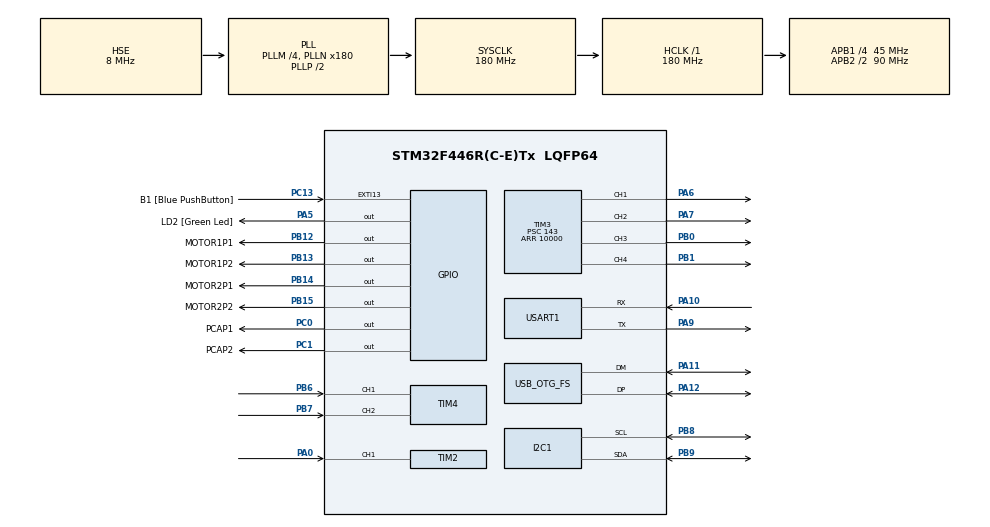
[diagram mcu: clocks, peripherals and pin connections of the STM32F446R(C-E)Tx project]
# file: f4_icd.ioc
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FREERTOS.Tasks01=defaultTask,0,128,StartDefaultTask,Default,NULL,Dynamic,NULL,NULL;myTask02,0,128,StartTask02,Default,NULL,Dynamic,NULL,NULL;myTask03,0,128,StartTask03,Default,NULL,Dynamic,NULL,NULL;Task4UserInput,0,128,StartTask4UserInput,Default,NULL,Dynamic,NULL,NULL
I2C1.I2C_Mode=I2C_Standard
Mcu.Family=STM32F4
Mcu.Name=STM32F446R(C-E)Tx
Mcu.Package=LQFP64
NVIC.I2C1_EV_IRQn=true\:5\:0\:false\:false\:true\:true
NVIC.OTG_FS_IRQn=true\:0\:0\:false\:false\:true\:false
NVIC.PriorityGroup=NVIC_PRIORITYGROUP_4
NVIC.TIM1_UP_TIM10_IRQn=true\:0\:0\:false\:false\:true\:false
NVIC.TIM2_IRQn=true\:5\:0\:false\:false\:true\:true
NVIC.TimeBase=TIM1_UP_TIM10_IRQn
NVIC.TimeBaseIP=TIM10
NVIC.USART1_IRQn=true\:5\:0\:false\:false\:true\:true
PA0-WKUP.Signal=S_TIM2_CH1_ETR
PA10.GPIO_Speed=GPIO_SPEED_FREQ_MEDIUM
PA10.Mode=Asynchronous
PA10.Signal=USART1_RX
PA11.Mode=Device_Only
PA11.Signal=USB_OTG_FS_DM
PA12.Mode=Device_Only
PA12.Signal=USB_OTG_FS_DP
PA13.GPIO_Label=TMS
PA13.Mode=Serial_Wire
PA13.Signal=SYS_JTMS-SWDIO
PA14.GPIO_Label=TCK
PA14.Mode=Serial_Wire
PA14.Signal=SYS_JTCK-SWCLK
PA2.GPIO_Label=USART_TX
PA2.Signal=USART2_TX
PA3.GPIO_Label=USART_RX
PA3.Signal=USART2_RX
PA5.GPIO_Label=LD2 [Green Led]
PA5.Signal=GPIO_Output
PA6.Signal=S_TIM3_CH1
PA7.Signal=S_TIM3_CH2
PA9.Mode=Asynchronous
PA9.Signal=USART1_TX
PB0.Signal=S_TIM3_CH3
PB1.Signal=S_TIM3_CH4
PB12.GPIO_Label=MOTOR1P1
PB12.Signal=GPIO_Output
PB13.GPIO_Label=MOTOR1P2
PB13.Signal=GPIO_Output
PB14.GPIO_Label=MOTOR2P1
PB14.Signal=GPIO_Output
PB15.GPIO_Label=MOTOR2P2
PB15.Signal=GPIO_Output
PB3.GPIO_Label=SWO
PB3.Signal=SYS_JTDO-SWO
PB6.Signal=S_TIM4_CH1
PB7.Signal=S_TIM4_CH2
PB8.Mode=I2C
PB8.Signal=I2C1_SCL
PB9.Mode=I2C
PB9.Signal=I2C1_SDA
PC0.GPIO_Label=PCAP1
PC0.GPIO_Speed=GPIO_SPEED_FREQ_HIGH
PC0.Signal=GPIO_Output
PC1.GPIO_Label=PCAP2
PC1.GPIO_Speed=GPIO_SPEED_FREQ_HIGH
PC1.Signal=GPIO_Output
PC13.GPIO_Label=B1 [Blue PushButton]
PC13.GPIO_ModeDefaultEXTI=GPIO_MODE_IT_FALLING
PC13.Signal=GPXTI13
PC14-OSC32_IN.Signal=RCC_OSC32_IN
PC15-OSC32_OUT.Signal=RCC_OSC32_OUT
PH0-OSC_IN.Mode=HSE-External-Oscillator
PH0-OSC_IN.Signal=RCC_OSC_IN
PH1-OSC_OUT.Mode=HSE-External-Oscillator
PH1-OSC_OUT.Signal=RCC_OSC_OUT
ProjectManager.HeapSize=0x200
ProjectManager.StackSize=0x400
ProjectManager.TargetToolchain=SW4STM32
RCC.AHBFreq_Value=180000000
RCC.APB1CLKDivider=RCC_HCLK_DIV4
RCC.APB1Freq_Value=45000000
RCC.APB1TimFreq_Value=90000000
RCC.APB2CLKDivider=RCC_HCLK_DIV2
RCC.APB2Freq_Value=90000000
RCC.APB2TimFreq_Value=180000000
RCC.CortexFreq_Value=180000000
RCC.FLatency-AdvancedSettings=FLASH_LATENCY_5
RCC.HCLKFreq_Value=180000000
RCC.HSE_VALUE=8000000
RCC.HSI_VALUE=16000000
RCC.LSE_VALUE=32768
RCC.PLLM=4
RCC.PLLN=180
RCC.PLLQ=3
RCC.PLLSAIM=4
RCC.PLLSAIN=96
RCC.PLLSAIP=RCC_PLLSAIP_DIV4
RCC.PLLSourceVirtual=RCC_PLLSOURCE_HSE
RCC.SYSCLKFreq_VALUE=180000000
RCC.SYSCLKSource=RCC_SYSCLKSOURCE_PLLCLK
RCC.USBCLockSelection=RCC_CLK48CLKSOURCE_PLLSAIP
RCC.USBFreq_Value=48000000
RCC.VCOOutputFreq_Value=360000000
SH.S_TIM2_CH1_ETR.0=TIM2_CH1,PWM_Input_1
SH.S_TIM3_CH1.0=TIM3_CH1,PWM Generation1 CH1
SH.S_TIM3_CH2.0=TIM3_CH2,PWM Generation2 CH2
SH.S_TIM3_CH3.0=TIM3_CH3,PWM Generation3 CH3
SH.S_TIM3_CH4.0=TIM3_CH4,PWM Generation4 CH4
SH.S_TIM4_CH1.0=TIM4_CH1,Encoder_Interface
SH.S_TIM4_CH2.0=TIM4_CH2,Encoder_Interface
TIM2.ICFilter_1=0
TIM2.ICFilter_2=0
TIM2.ICPolarity_1=TIM_INPUTCHANNELPOLARITY_FALLING
TIM2.Period=3600
TIM2.Prescaler=89
TIM2.TIM_MasterOutputTrigger=TIM_TRGO_RESET
TIM2.TIM_MasterSlaveMode=TIM_MASTERSLAVEMODE_ENABLE
TIM3.Channel-PWM\ Generation1\ CH1=TIM_CHANNEL_1
TIM3.Channel-PWM\ Generation2\ CH2=TIM_CHANNEL_2
TIM3.Channel-PWM\ Generation3\ CH3=TIM_CHANNEL_3
TIM3.Channel-PWM\ Generation4\ CH4=TIM_CHANNEL_4
TIM3.Period=10000
TIM3.Prescaler=143
USART1.VirtualMode=VM_ASYNC
USB_DEVICE.CLASS_NAME_FS=CDC
USB_DEVICE.VirtualModeFS=Cdc_FS
USB_OTG_FS.VirtualMode=Device_Only
VP_FREERTOS_VS_ENABLE.Mode=Enabled
VP_RTC_VS_RTC_Activate.Mode=RTC_Enabled
VP_SYS_VS_tim10.Mode=TIM10
VP_TIM2_VS_ClockSourceINT.Mode=Internal
VP_USB_DEVICE_VS_USB_DEVICE_CDC_FS.Mode=CDC_FS
board=NUCLEO-F446RE

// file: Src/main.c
/**
  ******************************************************************************
  * File Name          : main.c
  * Description        : Main program body
  ******************************************************************************
  * This notice applies to any and all portions of this file
  * that are not between comment pairs USER CODE BEGIN and
  * USER CODE END. Other portions of this file, whether
  * inserted by the user or by software development tools
  * are owned by their respective copyright owners.
  *
  * Copyright (c) 2017 STMicroelectronics International N.V.
  * All rights reserved.
  *
  * Redistribution and use in source and binary forms, with or without
  * modification, are permitted, provided that the following conditions are met:
  *
  * 1. Redistribution of source code must retain the above copyright notice,
  *    this list of conditions and the following disclaimer.
  * 2. Redistributions in binary form must reproduce the above copyright notice,
  *    this list of conditions and the following disclaimer in the documentation
  *    and/or other materials provided with the distribution.
  * 3. Neither the name of STMicroelectronics nor the names of other
  *    contributors to this software may be used to endorse or promote products
  *    derived from this software without specific written permission.
  * 4. This software, including modifications and/or derivative works of this
  *    software, must execute solely and exclusively on microcontroller or
  *    microprocessor devices manufactured by or for STMicroelectronics.
  * 5. Redistribution and use of this software other than as permitted under
  *    this license is void and will automatically terminate your rights under
  *    this license.
  *
  * THIS SOFTWARE IS PROVIDED BY STMICROELECTRONICS AND CONTRIBUTORS "AS IS"
  * AND ANY EXPRESS, IMPLIED OR STATUTORY WARRANTIES, INCLUDING, BUT NOT
  * LIMITED TO, THE IMPLIED WARRANTIES OF MERCHANTABILITY, FITNESS FOR A
  * PARTICULAR PURPOSE AND NON-INFRINGEMENT OF THIRD PARTY INTELLECTUAL PROPERTY
  * RIGHTS ARE DISCLAIMED TO THE FULLEST EXTENT PERMITTED BY LAW. IN NO EVENT
  * SHALL STMICROELECTRONICS OR CONTRIBUTORS BE LIABLE FOR ANY DIRECT, INDIRECT,
  * INCIDENTAL, SPECIAL, EXEMPLARY, OR CONSEQUENTIAL DAMAGES (INCLUDING, BUT NOT
  * LIMITED TO, PROCUREMENT OF SUBSTITUTE GOODS OR SERVICES; LOSS OF USE, DATA,
  * OR PROFITS; OR BUSINESS INTERRUPTION) HOWEVER CAUSED AND ON ANY THEORY OF
  * LIABILITY, WHETHER IN CONTRACT, STRICT LIABILITY, OR TORT (INCLUDING
  * NEGLIGENCE OR OTHERWISE) ARISING IN ANY WAY OUT OF THE USE OF THIS SOFTWARE,
  * EVEN IF ADVISED OF THE POSSIBILITY OF SUCH DAMAGE.
  *
  ******************************************************************************
  */
#include "main.h"
#include "stm32f4xx_hal.h"
#include "cmsis_os.h"
#include "usb_device.h"

/* USER CODE BEGIN Includes */
#include "FreeRTOS.H"
#include "task.h"
#include "semphr.h"
#include "../App/Project_Includes.h"
#include "../App/Project_Lib.h"
#include <string.h>
#include <stdio.h>

/* USER CODE END Includes */

I2C_HandleTypeDef hi2c1;

RTC_HandleTypeDef hrtc;

TIM_HandleTypeDef htim2;
TIM_HandleTypeDef htim3;
TIM_HandleTypeDef htim4;

UART_HandleTypeDef huart1;

osThreadId defaultTaskHandle;
osThreadId myTask02Handle;
osThreadId myTask03Handle;
osThreadId Task4UserInputHandle;

/* USER CODE BEGIN PV */
/* Private variables ---------------------------------------------------------*/

QueueHandle_t Queue_user_input = NULL;
QueueHandle_t Queue_motor_cmd = NULL;
QueueHandle_t Queue_ir_cap = NULL;
unsigned char str_buf2[50];
unsigned char str_uartt_tx2[16] = "XUART2 OK\t";
unsigned char str_uartt_tx3[16] = "\r\ncmd ok\n\r";
unsigned char str_lcd_t[16] = "01asd!\0";
uint8_t str_uartt_tx2_len;
uint8_t str_uartt_tx3_len;
uint16_t LCD_adr = 0x7e;

TIM_HandleTypeDef *motor_tim;
uint16_t MOTOR_MAX_CCR = 1;

unsigned char bufffer_rx[32];
uint8_t uart_send = 1;
uint8_t bufffer_rxi = 0;
uint8_t bufffer_rx_ready = 0;

/* USER CODE END PV */

void SystemClock_Config(void);
static void MX_GPIO_Init(void);
static void MX_USART1_UART_Init(void);
static void MX_I2C1_Init(void);
static void MX_RTC_Init(void);
static void MX_TIM3_Init(void);
static void MX_TIM2_Init(void);
static void MX_TIM4_Init(void);
void StartDefaultTask(void const * argument);
void StartTask02(void const * argument);
void StartTask03(void const * argument);
void StartTask4UserInput(void const * argument);

void HAL_TIM_MspPostInit(TIM_HandleTypeDef *htim);

/* USER CODE BEGIN PFP */
/* Private function prototypes -----------------------------------------------*/

/* USER CODE END PFP */

int main(void)
{

  /* USER CODE BEGIN 1 */
	str_uartt_tx2_len = strlen((const char*) str_uartt_tx2);
	str_uartt_tx3_len = strlen((const char*) str_uartt_tx3);

  /* USER CODE END 1 */

  /* MCU Configuration----------------------------------------------------------*/

  /* Reset of all peripherals, Initializes the Flash interface and the Systick. */
  HAL_Init();

  /* Configure the system clock */
  SystemClock_Config();

  /* Initialize all configured peripherals */
  MX_GPIO_Init();
  MX_USART1_UART_Init();
  MX_I2C1_Init();
  MX_RTC_Init();
  MX_TIM3_Init();
  MX_TIM2_Init();
  MX_TIM4_Init();

  /* USER CODE BEGIN 2 */
	/*##-4- Start the Input Capture in interrupt mode ##########################*/

	InitLogDev(&huart1);
  	HAL_GPIO_TogglePin(LD2_GPIO_Port, LD2_Pin);
	LogOut(str_uartt_tx2);
	str_uartt_tx2[0] = 0x40;
	LCD_ini(&hi2c1, LCD_adr);
	LogOut((uint8_t*)"LCD init %x, result=%d\n\r",LCD_handler.I2C_address, LCD_handler._LCD_last_status);
	LCD_Clear();
	LCD_SetPos(0, 0);
	LCD_String(str_lcd_t);

	motor_tim = &htim3;

	MOTOR_MAX_CCR = motor_tim->Instance->ARR;
	HAL_TIM_PWM_Start(motor_tim, TIM_CHANNEL_1);
	HAL_TIM_PWM_Start(motor_tim, TIM_CHANNEL_2);
	HAL_TIM_PWM_Start(motor_tim, TIM_CHANNEL_3);
	HAL_TIM_PWM_Start(motor_tim, TIM_CHANNEL_4);
	HAL_TIM_PWM_Start(motor_tim, TIM_CHANNEL_ALL);

	PrepareMotorCtrl(0, MOTOR1P1_GPIO_Port, MOTOR1P2_GPIO_Port, MOTOR1P1_Pin,
	MOTOR1P2_Pin, motor_tim, 1, MOTOR_MAX_CCR);
	PrepareMotorCtrl(1, MOTOR2P1_GPIO_Port, MOTOR2P2_GPIO_Port, MOTOR2P1_Pin,
	MOTOR2P2_Pin, motor_tim, 2, MOTOR_MAX_CCR);
	PrepareMotorCtrl(2, MOTOR1P1_GPIO_Port, MOTOR1P2_GPIO_Port, MOTOR1P1_Pin,
	MOTOR1P2_Pin, motor_tim, 1, MOTOR_MAX_CCR);
	PrepareMotorCtrl(3, MOTOR2P1_GPIO_Port, MOTOR2P2_GPIO_Port, MOTOR2P1_Pin,
	MOTOR2P2_Pin, motor_tim, 2, MOTOR_MAX_CCR);

	LCD_String(str_lcd_t);
	str_lcd_t[0]++;
//  osDelay(100);
	HAL_GPIO_WritePin(PCAP1_GPIO_Port, PCAP1_Pin,GPIO_PIN_SET);

  /* USER CODE END 2 */

  /* USER CODE BEGIN RTOS_MUTEX */
	/* add mutexes, ... */
	HAL_GPIO_TogglePin(LD2_GPIO_Port, LD2_Pin);
	osDelay(100);
	Queue_user_input = xQueueCreate(10, sizeof(uint8_t));
	if (Queue_user_input == NULL) {
		LogOut("\n\rxUser input QueueCreate FAIL!\n\r");
	} else {
		LogOut("\n\rxUser input QueueCreate OK\n\r");
	}
	Queue_motor_cmd = xQueueCreate(10, sizeof(uint32_t));
	if (Queue_motor_cmd == NULL) {
		LogOut("\n\rxMotor cmd QueueCreate FAIL!\n\r");
	} else {
		LogOut("\n\rxMotor cmd QueueCreate OK\n\r");
	}

	Queue_ir_cap = xQueueCreate(24, sizeof(TIM_CapValue_TypeDef));
	if (Queue_motor_cmd == NULL) {
		LogOut("\n\rTim CapVal QueueCreate FAIL!\n\r");
	} else {
		LogOut("\n\rTim CapVal  QueueCreate OK\n\r");
	}
	LCD_String(str_lcd_t);
	str_lcd_t[0]++;
	HAL_GPIO_TogglePin(LD2_GPIO_Port, LD2_Pin);

	ir_htim = &htim2;
	IR_RC5_Init(&htim2);

  /* USER CODE END RTOS_MUTEX */

  /* Create the thread(s) */
  /* definition and creation of defaultTask */
  osThreadDef(defaultTask, StartDefaultTask, osPriorityNormal, 0, 128);
  defaultTaskHandle = osThreadCreate(osThread(defaultTask), NULL);

  /* definition and creation of myTask02 */
  osThreadDef(myTask02, StartTask02, osPriorityNormal, 0, 128);
  myTask02Handle = osThreadCreate(osThread(myTask02), NULL);

  /* definition and creation of myTask03 */
  osThreadDef(myTask03, StartTask03, osPriorityNormal, 0, 128);
  myTask03Handle = osThreadCreate(osThread(myTask03), NULL);

  /* definition and creation of Task4UserInput */
  osThreadDef(Task4UserInput, StartTask4UserInput, osPriorityNormal, 0, 128);
  Task4UserInputHandle = osThreadCreate(osThread(Task4UserInput), NULL);

  /* USER CODE BEGIN RTOS_QUEUES */
	/* add queues, ... */
	LCD_String(str_lcd_t);
	str_lcd_t[0]++;
  /* USER CODE END RTOS_QUEUES */

  /* Start scheduler */
  osKernelStart();

  /* We should never get here as control is now taken by the scheduler */

  /* Infinite loop */
	while (1) {

	}

}

/** System Clock Configuration
*/
void SystemClock_Config(void)
{

  RCC_OscInitTypeDef RCC_OscInitStruct;
  RCC_ClkInitTypeDef RCC_ClkInitStruct;
  RCC_PeriphCLKInitTypeDef PeriphClkInitStruct;

    /**Configure the main internal regulator output voltage
    */
  __HAL_RCC_PWR_CLK_ENABLE();

  __HAL_PWR_VOLTAGESCALING_CONFIG(PWR_REGULATOR_VOLTAGE_SCALE1);

    /**Initializes the CPU, AHB and APB busses clocks
    */
  RCC_OscInitStruct.OscillatorType = RCC_OSCILLATORTYPE_LSI|RCC_OSCILLATORTYPE_HSE;
  RCC_OscInitStruct.HSEState = RCC_HSE_ON;
  RCC_OscInitStruct.LSEState = RCC_LSE_OFF;
  RCC_OscInitStruct.LSIState = RCC_LSI_ON;
  RCC_OscInitStruct.PLL.PLLState = RCC_PLL_ON;
  RCC_OscInitStruct.PLL.PLLSource = RCC_PLLSOURCE_HSE;
  RCC_OscInitStruct.PLL.PLLM = 4;
  RCC_OscInitStruct.PLL.PLLN = 180;
  RCC_OscInitStruct.PLL.PLLP = RCC_PLLP_DIV2;
  RCC_OscInitStruct.PLL.PLLQ = 3;
  RCC_OscInitStruct.PLL.PLLR = 2;
  if (HAL_RCC_OscConfig(&RCC_OscInitStruct) != HAL_OK)
  {
    _Error_Handler(__FILE__, __LINE__);
  }

    /**Activate the Over-Drive mode
    */
  if (HAL_PWREx_EnableOverDrive() != HAL_OK)
  {
    _Error_Handler(__FILE__, __LINE__);
  }

    /**Initializes the CPU, AHB and APB busses clocks
    */
  RCC_ClkInitStruct.ClockType = RCC_CLOCKTYPE_HCLK|RCC_CLOCKTYPE_SYSCLK
                              |RCC_CLOCKTYPE_PCLK1|RCC_CLOCKTYPE_PCLK2;
  RCC_ClkInitStruct.SYSCLKSource = RCC_SYSCLKSOURCE_PLLCLK;
  RCC_ClkInitStruct.AHBCLKDivider = RCC_SYSCLK_DIV1;
  RCC_ClkInitStruct.APB1CLKDivider = RCC_HCLK_DIV4;
  RCC_ClkInitStruct.APB2CLKDivider = RCC_HCLK_DIV2;

  if (HAL_RCC_ClockConfig(&RCC_ClkInitStruct, FLASH_LATENCY_5) != HAL_OK)
  {
    _Error_Handler(__FILE__, __LINE__);
  }

  PeriphClkInitStruct.PeriphClockSelection = RCC_PERIPHCLK_RTC|RCC_PERIPHCLK_CLK48;
  PeriphClkInitStruct.PLLSAI.PLLSAIM = 4;
  PeriphClkInitStruct.PLLSAI.PLLSAIN = 96;
  PeriphClkInitStruct.PLLSAI.PLLSAIQ = 2;
  PeriphClkInitStruct.PLLSAI.PLLSAIP = RCC_PLLSAIP_DIV4;
  PeriphClkInitStruct.PLLSAIDivQ = 1;
  PeriphClkInitStruct.RTCClockSelection = RCC_RTCCLKSOURCE_LSI;
  PeriphClkInitStruct.Clk48ClockSelection = RCC_CLK48CLKSOURCE_PLLSAIP;
  if (HAL_RCCEx_PeriphCLKConfig(&PeriphClkInitStruct) != HAL_OK)
  {
    _Error_Handler(__FILE__, __LINE__);
  }

    /**Configure the Systick interrupt time
    */
  HAL_SYSTICK_Config(HAL_RCC_GetHCLKFreq()/1000);

    /**Configure the Systick
    */
  HAL_SYSTICK_CLKSourceConfig(SYSTICK_CLKSOURCE_HCLK);

  /* SysTick_IRQn interrupt configuration */
  HAL_NVIC_SetPriority(SysTick_IRQn, 15, 0);
}

/* I2C1 init function */
static void MX_I2C1_Init(void)
{

  hi2c1.Instance = I2C1;
  hi2c1.Init.ClockSpeed = 100000;
  hi2c1.Init.DutyCycle = I2C_DUTYCYCLE_2;
  hi2c1.Init.OwnAddress1 = 0;
  hi2c1.Init.AddressingMode = I2C_ADDRESSINGMODE_7BIT;
  hi2c1.Init.DualAddressMode = I2C_DUALADDRESS_DISABLE;
  hi2c1.Init.OwnAddress2 = 0;
  hi2c1.Init.GeneralCallMode = I2C_GENERALCALL_DISABLE;
  hi2c1.Init.NoStretchMode = I2C_NOSTRETCH_DISABLE;
  if (HAL_I2C_Init(&hi2c1) != HAL_OK)
  {
    _Error_Handler(__FILE__, __LINE__);
  }

}

/* RTC init function */
static void MX_RTC_Init(void)
{

    /**Initialize RTC Only
    */
  hrtc.Instance = RTC;
  hrtc.Init.HourFormat = RTC_HOURFORMAT_24;
  hrtc.Init.AsynchPrediv = 127;
  hrtc.Init.SynchPrediv = 255;
  hrtc.Init.OutPut = RTC_OUTPUT_DISABLE;
  hrtc.Init.OutPutPolarity = RTC_OUTPUT_POLARITY_HIGH;
  hrtc.Init.OutPutType = RTC_OUTPUT_TYPE_OPENDRAIN;
  if (HAL_RTC_Init(&hrtc) != HAL_OK)
  {
    _Error_Handler(__FILE__, __LINE__);
  }

}

/* TIM2 init function */
static void MX_TIM2_Init(void)
{

  TIM_ClockConfigTypeDef sClockSourceConfig;
  TIM_SlaveConfigTypeDef sSlaveConfig;
  TIM_IC_InitTypeDef sConfigIC;
  TIM_MasterConfigTypeDef sMasterConfig;

  htim2.Instance = TIM2;
  htim2.Init.Prescaler = 89;
  htim2.Init.CounterMode = TIM_COUNTERMODE_UP;
  htim2.Init.Period = 3600;
  htim2.Init.ClockDivision = TIM_CLOCKDIVISION_DIV1;
  if (HAL_TIM_Base_Init(&htim2) != HAL_OK)
  {
    _Error_Handler(__FILE__, __LINE__);
  }

  sClockSourceConfig.ClockSource = TIM_CLOCKSOURCE_INTERNAL;
  if (HAL_TIM_ConfigClockSource(&htim2, &sClockSourceConfig) != HAL_OK)
  {
    _Error_Handler(__FILE__, __LINE__);
  }

  if (HAL_TIM_IC_Init(&htim2) != HAL_OK)
  {
    _Error_Handler(__FILE__, __LINE__);
  }

  sSlaveConfig.SlaveMode = TIM_SLAVEMODE_RESET;
  sSlaveConfig.InputTrigger = TIM_TS_TI1FP1;
  sSlaveConfig.TriggerPolarity = TIM_INPUTCHANNELPOLARITY_FALLING;
  sSlaveConfig.TriggerPrescaler = TIM_ICPSC_DIV1;
  sSlaveConfig.TriggerFilter = 0;
  if (HAL_TIM_SlaveConfigSynchronization(&htim2, &sSlaveConfig) != HAL_OK)
  {
    _Error_Handler(__FILE__, __LINE__);
  }

  sConfigIC.ICPolarity = TIM_INPUTCHANNELPOLARITY_FALLING;
  sConfigIC.ICSelection = TIM_ICSELECTION_DIRECTTI;
  sConfigIC.ICPrescaler = TIM_ICPSC_DIV1;
  sConfigIC.ICFilter = 0;
  if (HAL_TIM_IC_ConfigChannel(&htim2, &sConfigIC, TIM_CHANNEL_1) != HAL_OK)
  {
    _Error_Handler(__FILE__, __LINE__);
  }

  sConfigIC.ICPolarity = TIM_INPUTCHANNELPOLARITY_RISING;
  sConfigIC.ICSelection = TIM_ICSELECTION_INDIRECTTI;
  if (HAL_TIM_IC_ConfigChannel(&htim2, &sConfigIC, TIM_CHANNEL_2) != HAL_OK)
  {
    _Error_Handler(__FILE__, __LINE__);
  }

  sMasterConfig.MasterOutputTrigger = TIM_TRGO_RESET;
  sMasterConfig.MasterSlaveMode = TIM_MASTERSLAVEMODE_ENABLE;
  if (HAL_TIMEx_MasterConfigSynchronization(&htim2, &sMasterConfig) != HAL_OK)
  {
    _Error_Handler(__FILE__, __LINE__);
  }

}

/* TIM3 init function */
static void MX_TIM3_Init(void)
{

  TIM_MasterConfigTypeDef sMasterConfig;
  TIM_OC_InitTypeDef sConfigOC;

  htim3.Instance = TIM3;
  htim3.Init.Prescaler = 143;
  htim3.Init.CounterMode = TIM_COUNTERMODE_UP;
  htim3.Init.Period = 10000;
  htim3.Init.ClockDivision = TIM_CLOCKDIVISION_DIV1;
  if (HAL_TIM_PWM_Init(&htim3) != HAL_OK)
  {
    _Error_Handler(__FILE__, __LINE__);
  }

  sMasterConfig.MasterOutputTrigger = TIM_TRGO_RESET;
  sMasterConfig.MasterSlaveMode = TIM_MASTERSLAVEMODE_DISABLE;
  if (HAL_TIMEx_MasterConfigSynchronization(&htim3, &sMasterConfig) != HAL_OK)
  {
    _Error_Handler(__FILE__, __LINE__);
  }

  sConfigOC.OCMode = TIM_OCMODE_PWM1;
  sConfigOC.Pulse = 0;
  sConfigOC.OCPolarity = TIM_OCPOLARITY_HIGH;
  sConfigOC.OCFastMode = TIM_OCFAST_DISABLE;
  if (HAL_TIM_PWM_ConfigChannel(&htim3, &sConfigOC, TIM_CHANNEL_1) != HAL_OK)
  {
    _Error_Handler(__FILE__, __LINE__);
  }

  if (HAL_TIM_PWM_ConfigChannel(&htim3, &sConfigOC, TIM_CHANNEL_2) != HAL_OK)
  {
    _Error_Handler(__FILE__, __LINE__);
  }

  if (HAL_TIM_PWM_ConfigChannel(&htim3, &sConfigOC, TIM_CHANNEL_3) != HAL_OK)
  {
    _Error_Handler(__FILE__, __LINE__);
  }

  if (HAL_TIM_PWM_ConfigChannel(&htim3, &sConfigOC, TIM_CHANNEL_4) != HAL_OK)
  {
    _Error_Handler(__FILE__, __LINE__);
  }

  HAL_TIM_MspPostInit(&htim3);

}

/* TIM4 init function */
static void MX_TIM4_Init(void)
{

  TIM_Encoder_InitTypeDef sConfig;
  TIM_MasterConfigTypeDef sMasterConfig;

  htim4.Instance = TIM4;
  htim4.Init.Prescaler = 0;
  htim4.Init.CounterMode = TIM_COUNTERMODE_UP;
  htim4.Init.Period = 0;
  htim4.Init.ClockDivision = TIM_CLOCKDIVISION_DIV1;
  sConfig.EncoderMode = TIM_ENCODERMODE_TI1;
  sConfig.IC1Polarity = TIM_ICPOLARITY_RISING;
  sConfig.IC1Selection = TIM_ICSELECTION_DIRECTTI;
  sConfig.IC1Prescaler = TIM_ICPSC_DIV1;
  sConfig.IC1Filter = 0;
  sConfig.IC2Polarity = TIM_ICPOLARITY_RISING;
  sConfig.IC2Selection = TIM_ICSELECTION_DIRECTTI;
  sConfig.IC2Prescaler = TIM_ICPSC_DIV1;
  sConfig.IC2Filter = 0;
  if (HAL_TIM_Encoder_Init(&htim4, &sConfig) != HAL_OK)
  {
    _Error_Handler(__FILE__, __LINE__);
  }

  sMasterConfig.MasterOutputTrigger = TIM_TRGO_RESET;
  sMasterConfig.MasterSlaveMode = TIM_MASTERSLAVEMODE_DISABLE;
  if (HAL_TIMEx_MasterConfigSynchronization(&htim4, &sMasterConfig) != HAL_OK)
  {
    _Error_Handler(__FILE__, __LINE__);
  }

}

/* USART1 init function */
static void MX_USART1_UART_Init(void)
{

  huart1.Instance = USART1;
  huart1.Init.BaudRate = 115200;
  huart1.Init.WordLength = UART_WORDLENGTH_8B;
  huart1.Init.StopBits = UART_STOPBITS_1;
  huart1.Init.Parity = UART_PARITY_NONE;
  huart1.Init.Mode = UART_MODE_TX_RX;
  huart1.Init.HwFlowCtl = UART_HWCONTROL_NONE;
  huart1.Init.OverSampling = UART_OVERSAMPLING_16;
  if (HAL_UART_Init(&huart1) != HAL_OK)
  {
    _Error_Handler(__FILE__, __LINE__);
  }

}

/** Configure pins as
        * Analog
        * Input
        * Output
        * EVENT_OUT
        * EXTI
     PA2   ------> USART2_TX
     PA3   ------> USART2_RX
*/
static void MX_GPIO_Init(void)
{

  GPIO_InitTypeDef GPIO_InitStruct;

  /* GPIO Ports Clock Enable */
  __HAL_RCC_GPIOC_CLK_ENABLE();
  __HAL_RCC_GPIOH_CLK_ENABLE();
  __HAL_RCC_GPIOA_CLK_ENABLE();
  __HAL_RCC_GPIOB_CLK_ENABLE();

  /*Configure GPIO pin Output Level */
  HAL_GPIO_WritePin(GPIOC, PCAP1_Pin|PCAP2_Pin, GPIO_PIN_RESET);

  /*Configure GPIO pin Output Level */
  HAL_GPIO_WritePin(LD2_GPIO_Port, LD2_Pin, GPIO_PIN_RESET);

  /*Configure GPIO pin Output Level */
  HAL_GPIO_WritePin(GPIOB, MOTOR1P1_Pin|MOTOR1P2_Pin|MOTOR2P1_Pin|MOTOR2P2_Pin, GPIO_PIN_RESET);

  /*Configure GPIO pin : B1_Pin */
  GPIO_InitStruct.Pin = B1_Pin;
  GPIO_InitStruct.Mode = GPIO_MODE_IT_FALLING;
  GPIO_InitStruct.Pull = GPIO_NOPULL;
  HAL_GPIO_Init(B1_GPIO_Port, &GPIO_InitStruct);

  /*Configure GPIO pins : PCAP1_Pin PCAP2_Pin */
  GPIO_InitStruct.Pin = PCAP1_Pin|PCAP2_Pin;
  GPIO_InitStruct.Mode = GPIO_MODE_OUTPUT_PP;
  GPIO_InitStruct.Pull = GPIO_NOPULL;
  GPIO_InitStruct.Speed = GPIO_SPEED_FREQ_HIGH;
  HAL_GPIO_Init(GPIOC, &GPIO_InitStruct);

  /*Configure GPIO pins : USART_TX_Pin USART_RX_Pin */
  GPIO_InitStruct.Pin = USART_TX_Pin|USART_RX_Pin;
  GPIO_InitStruct.Mode = GPIO_MODE_AF_PP;
  GPIO_InitStruct.Pull = GPIO_NOPULL;
  GPIO_InitStruct.Speed = GPIO_SPEED_FREQ_VERY_HIGH;
  GPIO_InitStruct.Alternate = GPIO_AF7_USART2;
  HAL_GPIO_Init(GPIOA, &GPIO_InitStruct);

  /*Configure GPIO pin : LD2_Pin */
  GPIO_InitStruct.Pin = LD2_Pin;
  GPIO_InitStruct.Mode = GPIO_MODE_OUTPUT_PP;
  GPIO_InitStruct.Pull = GPIO_NOPULL;
  GPIO_InitStruct.Speed = GPIO_SPEED_FREQ_LOW;
  HAL_GPIO_Init(LD2_GPIO_Port, &GPIO_InitStruct);

  /*Configure GPIO pins : MOTOR1P1_Pin MOTOR1P2_Pin MOTOR2P1_Pin MOTOR2P2_Pin */
  GPIO_InitStruct.Pin = MOTOR1P1_Pin|MOTOR1P2_Pin|MOTOR2P1_Pin|MOTOR2P2_Pin;
  GPIO_InitStruct.Mode = GPIO_MODE_OUTPUT_PP;
  GPIO_InitStruct.Pull = GPIO_NOPULL;
  GPIO_InitStruct.Speed = GPIO_SPEED_FREQ_LOW;
  HAL_GPIO_Init(GPIOB, &GPIO_InitStruct);

}

/* StartDefaultTask function */
void StartDefaultTask(void const * argument)
{
  /* init code for USB_DEVICE */
  MX_USB_DEVICE_Init();

  /* USER CODE BEGIN 5 */
	//int len;
	int count = 0;
	/* Infinite loop */
	for (;;) {
		LCD_SetPos(0, 0);
		LCD_SendChar(count + 48);

		//len =
				GetShortState(0, (uint8_t*)str_buf2);
		LCD_SetPos(1, 0);
		LCD_String((uint8_t*) str_buf2);

		//len =
				GetShortState(1, (uint8_t*)str_buf2);
//		sprintf(str_buf2, "1234567 test1");
		LCD_SetPos(1, 1);
		LCD_String((uint8_t*) str_buf2);

		if (++count > 9) {
			count = 0;
		}
		osDelay(200);
		HAL_GPIO_TogglePin(LD2_GPIO_Port, LD2_Pin);
	}
  /* USER CODE END 5 */
}

/* StartTask02 function */
void StartTask02(void const * argument)
{
  /* USER CODE BEGIN StartTask02 */
	/* Infinite loop */
	//uint32_t next_cmd = 0;
	BaseType_t xStatus;
	TIM_CapValue_TypeDef ic_val;
	ExecMotorCmd(mask_MOTOR1 | DIR_MOTOR_FORWARD | 44);

	for (;;) {
//		if (Queue_motor_cmd != NULL) {
//			xStatus = xQueueReceive(Queue_motor_cmd, &next_cmd, portMAX_DELAY);
//			if (xStatus == pdPASS) {
//				l = sprintf((char*) str_buf1,
//						"\n\rMotor cmd:%lX received from Queue_motor_cmd",
//						next_cmd);
//				HAL_UART_Transmit(&huart1, str_buf1, l, 0xff);
//				ExecMotorCmd(next_cmd);
//			}
//		}
		if (Queue_ir_cap != NULL) {
			while ((xStatus = xQueueReceive(Queue_ir_cap, &ic_val,
					portMAX_DELAY)) == pdPASS) {
				LogOut("\n\rIC_Cap: ch=%u val=%lu c1=%lu c2=%lu",
						ic_val.Channel, ic_val.ICvalue, ic_val.CR1, ic_val.CR2);
				osDelay(2);
			}
//			if (xStatus == pdPASS) {
//			}

		}
		osDelay(2);
	}
  /* USER CODE END StartTask02 */
}

/* StartTask03 function */
void StartTask03(void const * argument)
{
  /* USER CODE BEGIN StartTask03 */
	/* Infinite loop */
	GPIO_PinState ps_old, ps_new;
	ps_old = HAL_GPIO_ReadPin(GPIOB, GPIO_PIN_11);
	RTC_TimeTypeDef dtime_o;
	RTC_TimeTypeDef dtime_n;
	RTC_TimeTypeDef dtime_d;

	HAL_RTC_GetTime(&hrtc, &dtime_o, RTC_FORMAT_BIN);
	//hrtc
	/* Infinite loop */
	for (;;) {
		ps_new = HAL_GPIO_ReadPin(GPIOB, GPIO_PIN_11);
		if (ps_new != ps_old) {

			HAL_RTC_GetTime(&hrtc, &dtime_n, RTC_FORMAT_BIN);
			DeltaTime(&dtime_o, &dtime_n, &dtime_d);

			LogOut("\n\r%2d:%2d:%2d S1 = %d  %2d:%2d:%2d\n\r",
					dtime_n.Hours, dtime_n.Minutes, dtime_n.Seconds, ps_new,
					dtime_d.Hours, dtime_d.Minutes, dtime_d.Seconds);
			ps_old = ps_new;
			dtime_o = dtime_n;
		}
		osDelay(50);
	}
  /* USER CODE END StartTask03 */
}

/* StartTask4UserInput function */
void StartTask4UserInput(void const * argument)
{
  /* USER CODE BEGIN StartTask4UserInput */
	/* Infinite loop */
	uint8_t next_ch[3] = "$$";
	next_ch[2] = 0x0;
	uint32_t next_cmd;
	/* Infinite loop */
	osDelay(1000);
	for (;;) {
		next_cmd = 0;
		if (Queue_user_input != NULL) {
			xQueueReceive(Queue_user_input, next_ch, portMAX_DELAY);
			if (next_ch[0] < 0x20 || next_ch[0] > 0x7F) {
				uart_send = 0;

				LogOut("[c:%x]", next_ch[0]);

				if (next_ch[0] == 0xa || next_ch[0] == 0xd
						|| next_ch[0] == 0xc) {
					bufffer_rx[bufffer_rxi++] = 0x0;
					LogOutFix(str_uartt_tx3, str_uartt_tx3_len);
					next_cmd = ParseControlCmd((const char *) bufffer_rx);
					bufffer_rxi = 0;
					if (next_cmd > 0) {
						ExecMotorCmd(next_cmd);
						PrintMotorPinP1(&huart1);
						PrintTimBaseP1(&huart1);
					}
					PrintPromt();
				}
				uart_send = 1;
			} else {
				next_ch[0] = toupper(next_ch[0]);
				LogOutCh(next_ch[0]);
				if (bufffer_rxi < 80) {
					bufffer_rx[bufffer_rxi++] = next_ch[0];
				}
			}
		} else {
			osDelay(4000);
			LogOut("\n\r Error: Queue in NULL\n\r");
			osDelay(4000);
		}
		osDelay(1);
	}
  /* USER CODE END StartTask4UserInput */
}

void HAL_TIM_PeriodElapsedCallback(TIM_HandleTypeDef *htim)
{
  if (htim->Instance == TIM10) {
    HAL_IncTick();
  }
/* USER CODE BEGIN Callback 1 */
//  else{
//	  if(htim->Instance == ir_htim->Instance){
//		  HAL_GPIO_TogglePin(PCAP1_GPIO_Port,PCAP1_Pin);
//	  }
//  }
/* USER CODE END Callback 1 */
}

void _Error_Handler(char * file, int line)
{
	while (1) {
	}
}

/************************ (C) COPYRIGHT STMicroelectronics *****END OF FILE****/
